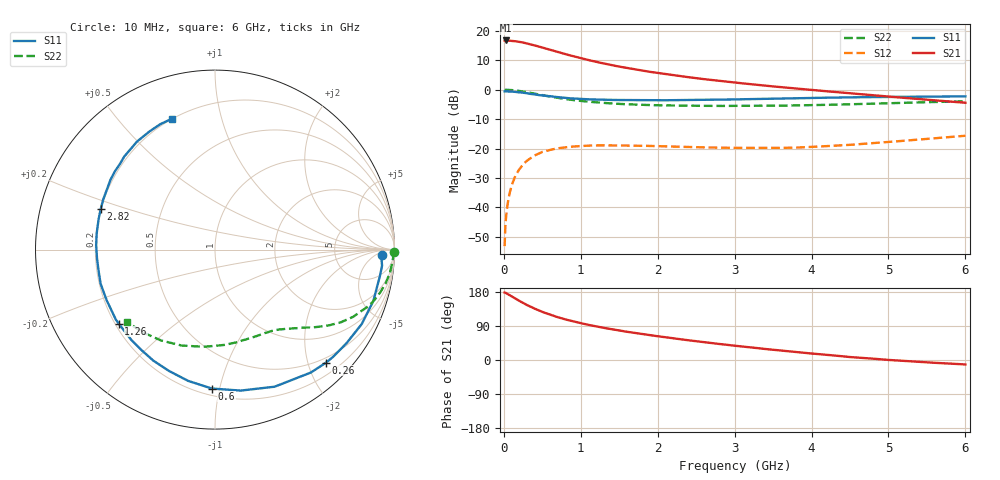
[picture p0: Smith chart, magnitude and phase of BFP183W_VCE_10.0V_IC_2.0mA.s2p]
! Infineon Technologies  Discrete & RF Semiconductors
! BFP183W
! VCE = 10.0V,  IC =  2.0 mA
! Common Emitter S-Parameters:  Jan 2016
# GHz  S  MA  R  50
!  f  S11  S21  S12  S22
! GHz  MAG  ANG  MAG  ANG  MAG  ANG  MAG  ANG
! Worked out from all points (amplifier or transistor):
!   210 points, 10 MHz to 6 GHz, reference 50 ohm
!   highest |S21| = 16.7 dB at 30 MHz (marker M1)
!   |S21| within 3 dB of that: start of sweep to 579.7 MHz
!   unconditionally stable (mu >= 1): 2.453 GHz to end of sweep
!   at 185 MHz: K = 0.09, MSG = 22.0 dB, |S12| = -27.7 dB
!   at 1.52 GHz: K = 0.63, MSG = 13.4 dB, |S12| = -19.0 dB
!   at 6 GHz: K = 1.01, MAG = 5.0 dB, |S12| = -15.7 dB
!   S11 on the Smith chart (normalised r, x): 10 MHz: 24, -11; 260 MHz: 0.41, -2.32; 600 MHz: 0.24, -0.95; 1.26 GHz: 0.21, -0.33; 2.82 GHz: 0.20, +0.17; 6 GHz: 0.20, +0.70
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0.01  0.9334 -1.9  6.781 177.9  0.0022 89.1  0.9954 -0.7
0.02  0.9304 -3.7  6.816 177.6  0.0049 84.4  0.9897 -1.5
0.03  0.9351 -5.5  6.833 176.5  0.0071 87.3  0.994 -2.3
0.06  0.9282 -10.9  6.802 172.8  0.0139 82.6  0.9896 -4.5
0.11  0.9236 -19.8  6.714 166.7  0.0252 78.3  0.9803 -8.2
0.2  0.8995 -35.4  6.483 155.9  0.0441 69.3  0.9504 -14.6
0.26  0.8828 -45.5  6.258 149.7  0.0553 63.9  0.9246 -18.5
0.3  0.8687 -52.0  6.084 145.1  0.062 60.4  0.9049 -20.8
0.4  0.833 -66.5  5.643 135.6  0.0761 52.6  0.8554 -26.0
0.5  0.7984 -79.7  5.191 126.8  0.0875 46.0  0.8077 -30.2
0.6  0.7743 -91.3  4.755 119.5  0.0949 40.3  0.7625 -33.6
0.8  0.723 -110.8  4.002 107.1  0.1051 31.7  0.692 -38.9
0.9  0.7076 -119.1  3.698 101.8  0.1083 28.6  0.664 -40.8
1.02  0.6915 -127.4  3.359 96.3  0.1105 25.0  0.6383 -43.2
1.26  0.6764 -142.5  2.848 86.4  0.1131 19.7  0.5998 -47.3
1.6  0.6643 -159.2  2.336 74.5  0.1126 15.1  0.5646 -52.4
2.02  0.6592 -175.6  1.901 62.2  0.1096 12.5  0.542 -59.0
2.82  0.6757 160.4  1.399 41.9  0.1034 13.5  0.5286 -72.9
3.1  0.6851 153.3  1.279 35.6  0.1025 15.3  0.5301 -78.3
4.1  0.7265 132.6  0.962 15.4  0.1082 25.0  0.5479 -99.9
5.1  0.7541 117.9  0.743 -1.0  0.1321 32.2  0.5919 -122.9
6  0.7675 108.3  0.598 -11.8  0.1647 33.4  0.6346 -140.8
